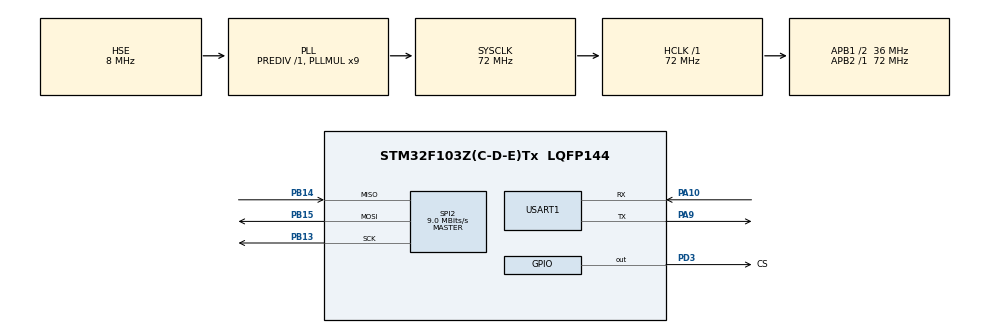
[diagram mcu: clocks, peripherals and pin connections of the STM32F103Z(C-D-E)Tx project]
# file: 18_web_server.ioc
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Mcu.Family=STM32F1
Mcu.Name=STM32F103Z(C-D-E)Tx
Mcu.Package=LQFP144
NVIC.PriorityGroup=NVIC_PRIORITYGROUP_4
OSC_IN.Mode=HSE-External-Oscillator
OSC_IN.Signal=RCC_OSC_IN
OSC_OUT.Mode=HSE-External-Oscillator
OSC_OUT.Signal=RCC_OSC_OUT
PA10.Mode=Asynchronous
PA10.Signal=USART1_RX
PA13.Mode=Serial_Wire
PA13.Signal=SYS_JTMS-SWDIO
PA14.Mode=Serial_Wire
PA14.Signal=SYS_JTCK-SWCLK
PA9.Mode=Asynchronous
PA9.Signal=USART1_TX
PB13.Mode=Full_Duplex_Master
PB13.Signal=SPI2_SCK
PB14.Mode=Full_Duplex_Master
PB14.Signal=SPI2_MISO
PB15.Mode=Full_Duplex_Master
PB15.Signal=SPI2_MOSI
PC14-OSC32_IN.Mode=LSE-External-Oscillator
PC14-OSC32_IN.Signal=RCC_OSC32_IN
PC15-OSC32_OUT.Mode=LSE-External-Oscillator
PC15-OSC32_OUT.Signal=RCC_OSC32_OUT
PD3.GPIO_Label=CS
PD3.Signal=GPIO_Output
ProjectManager.HeapSize=0x200
ProjectManager.StackSize=0x400
ProjectManager.TargetToolchain=CMake
RCC.AHBFreq_Value=72000000
RCC.APB1CLKDivider=RCC_HCLK_DIV2
RCC.APB1Freq_Value=36000000
RCC.APB1TimFreq_Value=72000000
RCC.APB2Freq_Value=72000000
RCC.APB2TimFreq_Value=72000000
RCC.HCLKFreq_Value=72000000
RCC.PLLMUL=RCC_PLL_MUL9
RCC.PLLSourceVirtual=RCC_PLLSOURCE_HSE
RCC.SYSCLKFreq_VALUE=72000000
RCC.SYSCLKSource=RCC_SYSCLKSOURCE_PLLCLK
RCC.USBFreq_Value=72000000
SPI2.BaudRatePrescaler=SPI_BAUDRATEPRESCALER_4
SPI2.CalculateBaudRate=9.0 MBits/s
SPI2.Direction=SPI_DIRECTION_2LINES
SPI2.Mode=SPI_MODE_MASTER
SPI2.VirtualType=VM_MASTER
USART1.VirtualMode=VM_ASYNC
board=custom

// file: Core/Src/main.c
/* USER CODE BEGIN Header */
/**
  ******************************************************************************
  * @file           : main.c
  * @brief          : Main program body
  ******************************************************************************
  * @attention
  *
  * Copyright (c) 2026 STMicroelectronics.
  * All rights reserved.
  *
  * This software is licensed under terms that can be found in the LICENSE file
  * in the root directory of this software component.
  * If no LICENSE file comes with this software, it is provided AS-IS.
  *
  ******************************************************************************
  */
/* USER CODE END Header */
#include "main.h"

#include "eth.h"
#include "spi.h"
#include "usart.h"
#include "gpio.h"
#include "web_server.h"
#include "web_server.h"

void SystemClock_Config(void);

/* USER CODE BEGIN 0 */

void _led_action(uint8_t action, uint8_t device)
{
  uint8_t led_state = GPIO_PIN_SET;
  uint8_t led_id = 0;
  if (action == 1)
  {
    led_state = GPIO_PIN_RESET;
  }

  switch (device)
  {
  case 1:
    led_id = led1_Pin;
    break;
  case 2:
    led_id = led2_Pin;
    break;
  case 3:
    led_id = led3_Pin;
    break;
  }

  HAL_GPIO_WritePin(led1_GPIO_Port, led_id, led_state);
}

/* USER CODE END 0 */

int main(void)
{

  /* MCU Configuration--------------------------------------------------------*/

  /* Reset of all peripherals, Initializes the Flash interface and the Systick. */
  HAL_Init();

  /* Configure the system clock */
  SystemClock_Config();

  /* Initialize all configured peripherals */
  MX_GPIO_Init();
  MX_USART1_UART_Init();
  MX_SPI2_Init();
  /* USER CODE BEGIN 2 */

  ETH_Init();

  WebServer_Init();

  /* USER CODE END 2 */

  /* Infinite loop */
  while (1)
  {

    WebServer_Start();

  }
}

void SystemClock_Config(void)
{
  RCC_OscInitTypeDef RCC_OscInitStruct = {0};
  RCC_ClkInitTypeDef RCC_ClkInitStruct = {0};

  /** Initializes the RCC Oscillators according to the specified parameters
  * in the RCC_OscInitTypeDef structure.
  */
  RCC_OscInitStruct.OscillatorType = RCC_OSCILLATORTYPE_HSE;
  RCC_OscInitStruct.HSEState = RCC_HSE_ON;
  RCC_OscInitStruct.HSEPredivValue = RCC_HSE_PREDIV_DIV1;
  RCC_OscInitStruct.HSIState = RCC_HSI_ON;
  RCC_OscInitStruct.PLL.PLLState = RCC_PLL_ON;
  RCC_OscInitStruct.PLL.PLLSource = RCC_PLLSOURCE_HSE;
  RCC_OscInitStruct.PLL.PLLMUL = RCC_PLL_MUL9;
  if (HAL_RCC_OscConfig(&RCC_OscInitStruct) != HAL_OK)
  {
    Error_Handler();
  }

  /** Initializes the CPU, AHB and APB buses clocks
  */
  RCC_ClkInitStruct.ClockType = RCC_CLOCKTYPE_HCLK | RCC_CLOCKTYPE_SYSCLK
    | RCC_CLOCKTYPE_PCLK1 | RCC_CLOCKTYPE_PCLK2;
  RCC_ClkInitStruct.SYSCLKSource = RCC_SYSCLKSOURCE_PLLCLK;
  RCC_ClkInitStruct.AHBCLKDivider = RCC_SYSCLK_DIV1;
  RCC_ClkInitStruct.APB1CLKDivider = RCC_HCLK_DIV2;
  RCC_ClkInitStruct.APB2CLKDivider = RCC_HCLK_DIV1;

  if (HAL_RCC_ClockConfig(&RCC_ClkInitStruct, FLASH_LATENCY_2) != HAL_OK)
  {
    Error_Handler();
  }
}

void Error_Handler(void)
{
  __disable_irq();
  while (1)
  {
  }
}
